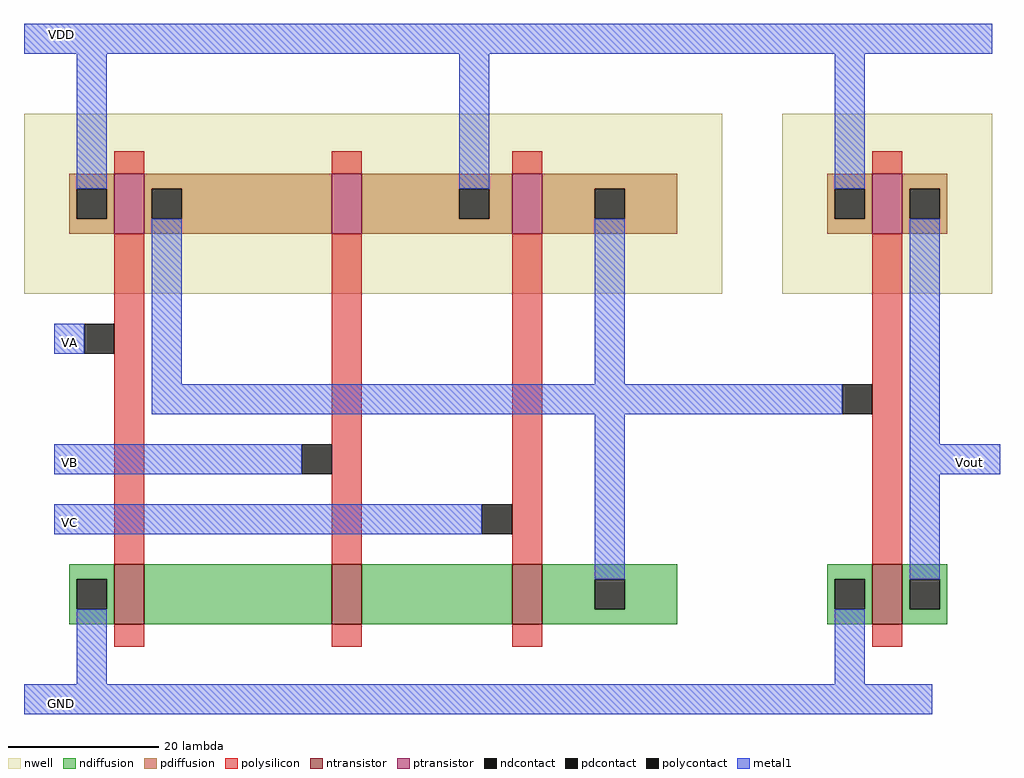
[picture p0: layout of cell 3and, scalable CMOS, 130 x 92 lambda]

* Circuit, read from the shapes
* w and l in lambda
.subckt 3and GND VA VB VC VDD Vout
M1 n1 VA GND VSUBS nfet w=8 l=4
M2 n2 VB n1 VSUBS nfet w=8 l=4
M3 n3 VC n2 VSUBS nfet w=8 l=4
M4 Vout n3 GND VSUBS nfet w=8 l=4
M5 n3 VA VDD n4 pfet w=8 l=4
M6 VDD VB n3 n4 pfet w=8 l=4
M7 n3 VC VDD n4 pfet w=8 l=4
M8 Vout n3 VDD n5 pfet w=8 l=4
.ends

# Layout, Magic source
magic
tech scmos
<< nwell >>
rect -2 0 91 24
rect 99 0 127 24
<< ntransistor >>
rect 10 -44 14 -36
rect 39 -44 43 -36
rect 63 -44 67 -36
rect 111 -44 115 -36
<< ptransistor >>
rect 10 8 14 16
rect 39 8 43 16
rect 63 8 67 16
rect 111 8 115 16
<< ndiffusion >>
rect 4 -38 10 -36
rect 4 -42 5 -38
rect 9 -42 10 -38
rect 4 -44 10 -42
rect 14 -44 39 -36
rect 43 -44 63 -36
rect 67 -38 85 -36
rect 67 -42 74 -38
rect 78 -42 85 -38
rect 67 -44 85 -42
rect 105 -38 111 -36
rect 105 -42 106 -38
rect 110 -42 111 -38
rect 105 -44 111 -42
rect 115 -38 121 -36
rect 115 -42 116 -38
rect 120 -42 121 -38
rect 115 -44 121 -42
<< pdiffusion >>
rect 4 14 10 16
rect 4 10 5 14
rect 9 10 10 14
rect 4 8 10 10
rect 14 14 39 16
rect 14 10 15 14
rect 19 10 39 14
rect 14 8 39 10
rect 43 14 63 16
rect 43 10 56 14
rect 60 10 63 14
rect 43 8 63 10
rect 67 14 85 16
rect 67 10 74 14
rect 78 10 85 14
rect 67 8 85 10
rect 105 14 111 16
rect 105 10 106 14
rect 110 10 111 14
rect 105 8 111 10
rect 115 14 121 16
rect 115 10 116 14
rect 120 10 121 14
rect 115 8 121 10
<< ndcontact >>
rect 5 -42 9 -38
rect 74 -42 78 -38
rect 106 -42 110 -38
rect 116 -42 120 -38
<< pdcontact >>
rect 5 10 9 14
rect 15 10 19 14
rect 56 10 60 14
rect 74 10 78 14
rect 106 10 110 14
rect 116 10 120 14
<< polysilicon >>
rect 10 16 14 19
rect 39 16 43 19
rect 63 16 67 19
rect 111 16 115 19
rect 10 -36 14 8
rect 39 -36 43 8
rect 63 -36 67 8
rect 111 -36 115 8
rect 10 -47 14 -44
rect 39 -47 43 -44
rect 63 -47 67 -44
rect 111 -47 115 -44
<< polycontact >>
rect 6 -8 10 -4
rect 35 -24 39 -20
rect 59 -32 63 -28
rect 107 -16 111 -12
<< metal1 >>
rect -2 32 127 36
rect 5 14 9 32
rect 56 14 60 32
rect 106 14 110 32
rect 2 -8 6 -4
rect 15 -12 19 10
rect 74 -12 78 10
rect 15 -16 107 -12
rect 2 -24 35 -20
rect 2 -32 59 -28
rect 74 -38 78 -16
rect 116 -20 120 10
rect 116 -24 128 -20
rect 116 -38 120 -24
rect 5 -52 9 -42
rect 106 -52 110 -42
rect -2 -56 119 -52
<< labels >>
rlabel metal1 2 34 4 35 4 VDD
rlabel metal1 3 -7 5 -6 1 VA
rlabel metal1 2 -55 4 -54 2 GND
rlabel metal1 123 -23 125 -22 7 Vout
rlabel metal1 3 -23 5 -22 1 VB
rlabel metal1 3 -31 5 -30 1 VC
<< end >>
